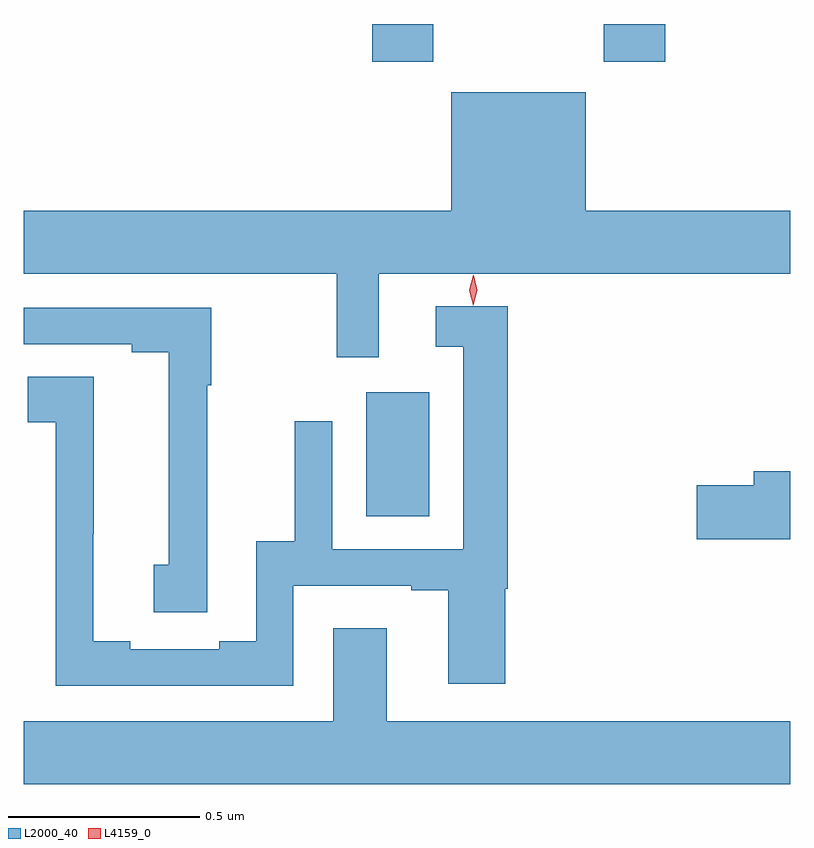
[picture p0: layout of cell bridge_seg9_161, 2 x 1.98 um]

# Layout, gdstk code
import gdstk
lib = gdstk.Library(unit=1e-6, precision=1e-09)
def R(c, l, rs):  # rectangles x0, y0, x1, y1
    for r in rs: c.add(gdstk.rectangle(r[:2], r[2:], *l))
def P(c, l, *ps):  # polygons
    for p in ps: c.add(gdstk.Polygon(p, *l))
L2000_40 = (2000, 40)
L4159_0 = (4159, 0)

bridge_seg9_161 = lib.new_cell('bridge_seg9_161')
R(bridge_seg9_161, L2000_40, [(318.32,1229.086,318.484,1229.41), (318.335,1230.273,318.495,1230.371), (318.94,1230.273,319.1,1230.371)])
P(bridge_seg9_161, L2000_40, [(318.352,1229.72),(319.426,1229.72),(319.426,1229.884),(318.892,1229.884),(318.892,1230.193),(318.542,1230.193),(318.542,1229.884),(317.426,1229.884),(317.426,1229.72),(318.243,1229.72),(318.243,1229.502),(318.352,1229.502)],
  [(318.129,1228.905),(318.437,1228.905),(318.437,1228.893),(318.533,1228.893),(318.533,1228.65),(318.683,1228.65),(318.683,1228.898),(318.689,1228.898),(318.689,1229.635),(318.501,1229.635),(318.501,1229.529),(318.573,1229.529),(318.573,1229.001),(318.231,1229.001),(318.231,1229.335),(318.133,1229.335),(318.133,1229.021),(318.033,1229.021),(318.033,1228.76),(317.936,1228.76),(317.936,1228.74),(317.704,1228.74),(317.704,1228.76),(317.608,1228.76),(317.608,1229.041),(317.609,1229.041),(317.609,1229.45),(317.437,1229.45),(317.437,1229.332),(317.51,1229.332),(317.51,1228.644),(318.129,1228.644)],
  [(317.905,1229.428),(317.915,1229.428),(317.915,1229.631),(317.426,1229.631),(317.426,1229.535),(317.708,1229.535),(317.708,1229.515),(317.804,1229.515),(317.804,1228.96),(317.765,1228.96),(317.765,1228.836),(317.905,1228.836)],
  [(319.426,1229.204),(319.331,1229.204),(319.331,1229.168),(319.182,1229.168),(319.182,1229.026),(319.426,1229.026)],
  [(319.426,1228.552),(318.373,1228.552),(318.373,1228.795),(318.233,1228.795),(318.233,1228.552),(317.426,1228.552),(317.426,1228.388),(319.426,1228.388)])
P(bridge_seg9_161, L4159_0, [(318.599,1229.637),(318.599,1229.637),(318.589,1229.676),(318.599,1229.715),(318.6,1229.715),(318.6,1229.715),(318.609,1229.676),(318.599,1229.637)])

lib.write_gds('bridge_seg9_161.gds')
